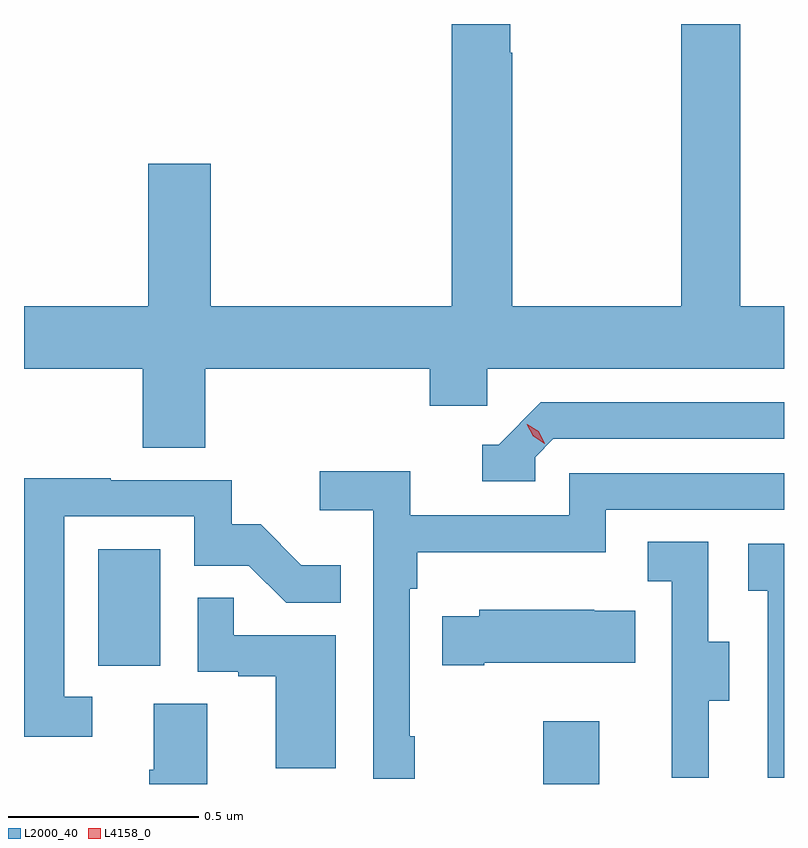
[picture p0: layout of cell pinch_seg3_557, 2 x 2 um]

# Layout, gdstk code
import gdstk
lib = gdstk.Library(unit=1e-6, precision=1e-09)
def R(c, l, rs):  # rectangles x0, y0, x1, y1
    for r in rs: c.add(gdstk.rectangle(r[:2], r[2:], *l))
def P(c, l, *ps):  # polygons
    for p in ps: c.add(gdstk.Polygon(p, *l))
L2000_40 = (2000, 40)
L4158_0 = (4158, 0)

pinch_seg3_557 = lib.new_cell('pinch_seg3_557')
R(pinch_seg3_557, L2000_40, [(1143.07,697.159,1143.217,697.324), (1141.898,697.47,1142.062,697.777)])
P(pinch_seg3_557, L2000_40, [(1142.18,698.252),(1142.771,698.252),(1142.771,698.154),(1142.922,698.154),(1142.922,698.252),(1143.703,698.252),(1143.703,698.416),(1143.588,698.416),(1143.588,699.159),(1143.433,699.159),(1143.433,698.416),(1142.988,698.416),(1142.988,699.083),(1142.983,699.083),(1142.983,699.159),(1142.828,699.159),(1142.828,698.416),(1142.194,698.416),(1142.194,698.791),(1142.03,698.791),(1142.03,698.416),(1141.703,698.416),(1141.703,698.252),(1142.015,698.252),(1142.015,698.044),(1142.18,698.044)],
  [(1143.048,698.019),(1143.096,698.067),(1143.703,698.067),(1143.703,698.163),(1143.063,698.163),(1142.952,698.052),(1142.909,698.052),(1142.909,697.956),(1143.048,697.956)],
  [(1142.731,697.285),(1142.718,697.285),(1142.718,697.673),(1142.738,697.673),(1142.738,697.769),(1143.234,697.769),(1143.234,697.881),(1143.703,697.881),(1143.703,697.977),(1143.138,697.977),(1143.138,697.866),(1142.72,697.866),(1142.72,697.982),(1142.481,697.982),(1142.481,697.88),(1142.622,697.88),(1142.622,697.173),(1142.731,697.173)],
  [(1141.882,697.389),(1141.809,697.389),(1141.809,697.863),(1142.151,697.863),(1142.151,697.734),(1142.295,697.734),(1142.393,697.636),(1142.537,697.636),(1142.537,697.735),(1142.433,697.735),(1142.326,697.842),(1142.25,697.842),(1142.25,697.959),(1141.931,697.959),(1141.931,697.964),(1141.703,697.964),(1141.703,697.284),(1141.882,697.284)],
  [(1143.505,697.378),(1143.559,697.378),(1143.559,697.533),(1143.504,697.533),(1143.504,697.796),(1143.345,697.796),(1143.345,697.693),(1143.408,697.693),(1143.408,697.389),(1143.407,697.389),(1143.407,697.176),(1143.505,697.176)],
  [(1143.703,697.791),(1143.609,697.791),(1143.609,697.667),(1143.66,697.667),(1143.66,697.176),(1143.703,697.176)],
  [(1142.524,697.551),(1142.255,697.551),(1142.255,697.649),(1142.16,697.649),(1142.16,697.455),(1142.267,697.455),(1142.267,697.443),(1142.366,697.443),(1142.366,697.2),(1142.524,697.2)],
  [(1142.914,697.478),(1143.311,697.478),(1143.311,697.615),(1143.203,697.615),(1143.203,697.618),(1142.901,697.618),(1142.901,697.6),(1142.803,697.6),(1142.803,697.471),(1142.914,697.471)],
  [(1142.185,697.37),(1142.045,697.37),(1142.045,697.196),(1142.033,697.196),(1142.033,697.159),(1142.185,697.159)])
P(pinch_seg3_557, L4158_0, [(1143.073,698.055),(1143.043,698.074),(1143.026,698.106),(1143.026,698.106),(1143.027,698.106),(1143.058,698.087),(1143.074,698.055),(1143.074,698.055)])

lib.write_gds('pinch_seg3_557.gds')
